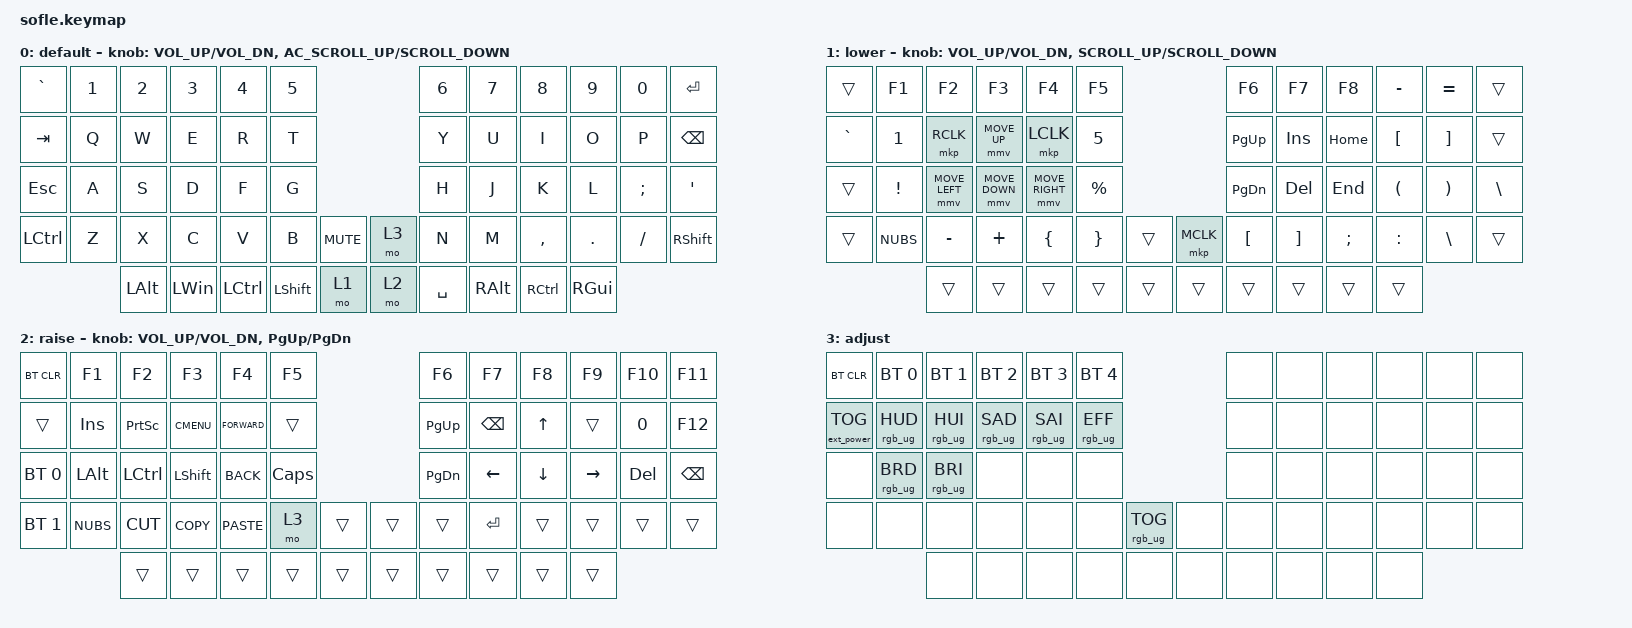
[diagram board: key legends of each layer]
/*
 * Copyright (c) 2020 The ZMK Contributors
 *
 * SPDX-License-Identifier: MIT
 */

#include <behaviors.dtsi>
#include <dt-bindings/zmk/bt.h>
#include <dt-bindings/zmk/ext_power.h>
#include <dt-bindings/zmk/keys.h>
#include <dt-bindings/zmk/pointing.h>
#include <dt-bindings/zmk/rgb.h>

#define BASE 0
#define LOWER 1
#define RAISE 2
#define ADJUST 3

/ {
    // Activate ADJUST layer by pressing raise and lower

    conditional_layers {
        compatible = "zmk,conditional-layers";

        adjust_layer {
            if-layers = <1 2>;
            then-layer = <3>;
        };
    };

    keymap {
        compatible = "zmk,keymap";

        default_layer {
            display-name = "default";

            // ------------------------------------------------------------------------------------------------------------
            // |   `   |  1  |  2  |  3   |  4   |  5   |                   |  6   |  7    |  8    |  9   |   0   |       |
            // |  ESC  |  Q  |  W  |  E   |  R   |  T   |                   |  Y   |  U    |  I    |  O   |   P   | BKSPC |
            // |  TAB  |  A  |  S  |  D   |  F   |  G   |                   |  H   |  J    |  K    |  L   |   ;   |   '   |
            // | SHIFT |  Z  |  X  |  C   |  V   |  B   |  MUTE  |  |       |  N   |  M    |  ,    |  .   |   /   | SHIFT |
            //               | GUI | ALT  | CTRL | LOWER|  ENTER |  | SPACE | RAISE| CTRL  | ALT   | GUI  |

            bindings = <
&kp GRAVE         &kp N1  &kp N2    &kp N3        &kp N4     &kp N5                               &kp N6     &kp N7    &kp N8     &kp N9    &kp N0    &kp ENTER
&kp TAB           &kp Q   &kp W     &kp E         &kp R      &kp T                                &kp Y      &kp U     &kp I      &kp O     &kp P     &kp BSPC
&kp ESC           &kp A   &kp S     &kp D         &kp F      &kp G                                &kp H      &kp J     &kp K      &kp L     &kp SEMI  &kp SQT
&kp LEFT_CONTROL  &kp Z   &kp X     &kp C         &kp V      &kp B           &kp C_MUTE    &mo 3  &kp N      &kp M     &kp COMMA  &kp DOT   &kp FSLH  &kp RSHFT
                          &kp LALT  &kp LEFT_WIN  &kp LCTRL  &kp LEFT_SHIFT  &mo 1         &mo 2  &kp SPACE  &kp RALT  &kp RCTRL  &kp RGUI
            >;

            sensor-bindings =
                <&inc_dec_kp C_VOL_UP C_VOL_DN>,
                <&inc_dec_kp C_AC_SCROLL_UP K_SCROLL_DOWN>;
        };

        lower_layer {
            display-name = "lower";

            // TODO: Some binds are waiting for shifted keycode support.
            // ------------------------------------------------------------------------------------------------------------
            // |       |  F1 |  F2 |  F3  |  F4  |  F5  |                   |  F6  |  F7   |  F8   |  F9  |  F10  |  F11  |
            // |   `   |  1  |  2  |  3   |  4   |  5   |                   |  6   |  7    |  8    |  9   |   0   |  F12  |
            // |       |  !  |  @  |  #   |  $   |  %   |                   |  ^   |  &    |  *    |  (   |   )   |   |   |
            // |       |  =  |  -  |  +   |  {   |  }   |        |  |       |  [   |  ]    |  ;    |  :   |   \   |       |
            //               |     |      |      |      |        |  |       |      |       |       |      |

            bindings = <
&trans     &kp F1    &kp F2          &kp F3          &kp F4           &kp F5                          &kp F6         &kp F7      &kp F8    &kp MINUS         &kp EQUAL          &trans
&kp GRAVE  &kp N1    &mkp RCLK       &mmv MOVE_UP    &mkp LCLK        &kp N5                          &kp PAGE_UP    &kp INS     &kp HOME  &kp LEFT_BRACKET  &kp RIGHT_BRACKET  &trans
&trans     &kp EXCL  &mmv MOVE_LEFT  &mmv MOVE_DOWN  &mmv MOVE_RIGHT  &kp PRCNT                       &kp PAGE_DOWN  &kp DELETE  &kp END   &kp LPAR          &kp RPAR           &kp BACKSLASH
&trans     &kp NUBS  &kp MINUS       &kp PLUS        &kp LBRC         &kp RBRC   &trans    &mkp MCLK  &kp LBKT       &kp RBKT    &kp SEMI  &kp COLON         &kp BSLH           &trans
                     &trans          &trans          &trans           &trans     &trans    &trans     &trans         &trans      &trans    &trans
            >;

            sensor-bindings =
                <&inc_dec_kp C_VOL_UP C_VOL_DN>,
                <&inc_dec_kp K_SCROLL_UP K_SCROLL_DOWN>;
        };

        raise_layer {
            display-name = "raise";

            // ------------------------------------------------------------------------------------------------------------
            // | BTCLR | BT1  | BT2  |  BT3  |  BT4  |  BT5 |                |      |      |       |      |       |       |
            // |       | INS  | PSCR | GUI   |       |      |                | PGUP |      |   ^   |      |       |       |
            // |       | ALT  | CTRL | SHIFT |       | CAPS |                | PGDN |   <- |   v   |  ->  |  DEL  | BKSPC |
            // |       | UNDO | CUT  | COPY  | PASTE |      |      |  |      |      |      |       |      |       |       |
            //                |      |       |       |      |      |  |      |      |      |       |      |

            bindings = <
&bt BT_CLR    &kp F1    &kp F2     &kp F3       &kp F4         &kp F5                      &kp F6     &kp F7         &kp F8    &kp F9     &kp F10  &kp F11
&trans        &kp INS   &kp PSCRN  &kp K_CMENU  &kp K_FORWARD  &trans                      &kp PG_UP  &kp BACKSPACE  &kp UP    &trans     &kp N0   &kp F12
&bt BT_SEL 0  &kp LALT  &kp LCTRL  &kp LSHFT    &kp K_BACK     &kp CLCK                    &kp PG_DN  &kp LEFT       &kp DOWN  &kp RIGHT  &kp DEL  &kp BSPC
&bt BT_SEL 1  &kp NUBS  &kp K_CUT  &kp K_COPY   &kp K_PASTE    &mo 3     &trans    &trans  &trans     &kp ENTER      &trans    &trans     &trans   &trans
                        &trans     &trans       &trans         &trans    &trans    &trans  &trans     &trans         &trans    &trans
            >;

            sensor-bindings = <&inc_dec_kp C_VOL_UP C_VOL_DN &inc_dec_kp PG_UP PG_DN>;
        };

        adjust_layer {
            // ----------------------------------------------------------------------------------------------------------------------------
            // | BTCLR  |  BT1    |  BT2    |   BT3   |   BT4   |   BT5   |                  |      |      |       |      |       |       |
            // | EXTPWR | RGB_HUD | RGB_HUI | RGB_SAD | RGB_SAI | RGB_EFF |                  |      |      |       |      |       |       |
            // |        | RGB_BRD | RGB_BRI |         |         |         |                  |      |      |       |      |       |       |
            // |        |         |         |         |         |         | RGB_TOG | |      |      |      |       |      |       |       |
            //                    |         |         |         |         |         | |      |      |      |       |      |

            display-name = "adjust";
            bindings = <
&bt BT_CLR         &bt BT_SEL 0     &bt BT_SEL 1     &bt BT_SEL 2     &bt BT_SEL 3     &bt BT_SEL 4                               &none  &none  &none  &none  &none  &none
&ext_power EP_TOG  &rgb_ug RGB_HUD  &rgb_ug RGB_HUI  &rgb_ug RGB_SAD  &rgb_ug RGB_SAI  &rgb_ug RGB_EFF                            &none  &none  &none  &none  &none  &none
&none              &rgb_ug RGB_BRD  &rgb_ug RGB_BRI  &none            &none            &none                                      &none  &none  &none  &none  &none  &none
&none              &none            &none            &none            &none            &none            &rgb_ug RGB_TOG    &none  &none  &none  &none  &none  &none  &none
                                    &none            &none            &none            &none            &none              &none  &none  &none  &none  &none
            >;
        };
    };
};
